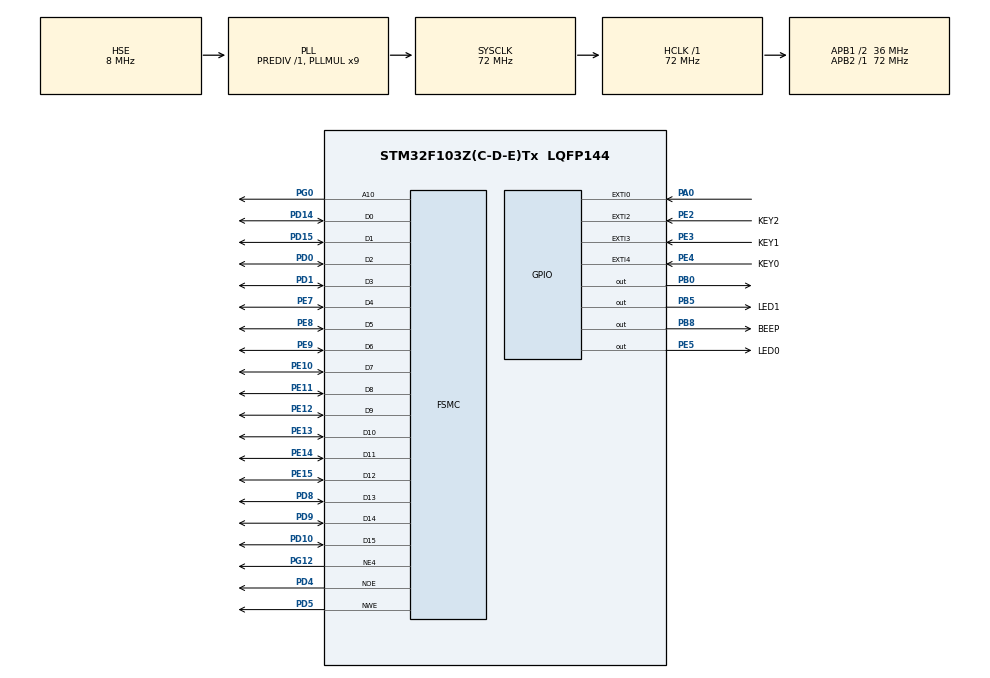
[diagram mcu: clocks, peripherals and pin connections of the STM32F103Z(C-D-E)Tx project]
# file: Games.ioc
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Mcu.Family=STM32F1
FSMC.AddressSetupTime1=0
SH.FSMC_D1_DA1.0=FSMC_D1,16b-d1
SH.FSMC_NWE.0=FSMC_NWE,Lcd1
PG0.Signal=FSMC_A10
SH.FSMC_D0_DA0.0=FSMC_D0,16b-d1
NVIC.EXTI3_IRQn=true\:0\:0\:false\:false\:true\:true\:true
FSMC.ExtendedBusTurnAroundDuration1=0
RCC.SYSCLKSource=RCC_SYSCLKSOURCE_PLLCLK
ProjectManager.StackSize=0x1000
PB0.PinState=GPIO_PIN_SET
RCC.HCLKFreq_Value=72000000
PD4.Signal=FSMC_NOE
RCC.APB2TimFreq_Value=72000000
PB5.PinState=GPIO_PIN_RESET
PD0.Signal=FSMC_D2_DA2
PD8.Signal=FSMC_D13_DA13
PE5.Signal=GPIO_Output
OSC_OUT.Mode=HSE-External-Oscillator
SH.FSMC_A10.0=FSMC_A10,A10_1
OSC_OUT.Signal=RCC_OSC_OUT
RCC.AHBFreq_Value=72000000
PB3.Mode=JTAG_5_pins
PA15.Mode=JTAG_5_pins
RCC.PLLMUL=RCC_PLL_MUL9
PB4.Mode=JTAG_5_pins
PE13.Signal=FSMC_D10_DA10
SH.FSMC_D14_DA14.0=FSMC_D14,16b-d1
SH.FSMC_D10_DA10.0=FSMC_D10,16b-d1
PE9.Signal=FSMC_D6_DA6
PA14.Mode=JTAG_5_pins
SH.FSMC_D6_DA6.0=FSMC_D6,16b-d1
PE4.GPIO_Label=KEY0
PE5.PinState=GPIO_PIN_RESET
PE2.Signal=GPXTI2
FSMC.BusTurnAroundDuration1=0
PE10.Signal=FSMC_D7_DA7
PE4.Signal=GPXTI4
SH.FSMC_D5_DA5.0=FSMC_D5,16b-d1
SH.FSMC_D4_DA4.0=FSMC_D4,16b-d1
Mcu.Package=LQFP144
SH.FSMC_D13_DA13.0=FSMC_D13,16b-d1
PA15.Signal=SYS_JTDI
PB5.GPIO_Label=LED1
NVIC.EXTI2_IRQn=true\:0\:0\:false\:false\:true\:true\:true
SH.FSMC_D3_DA3.0=FSMC_D3,16b-d1
RCC.APB1TimFreq_Value=72000000
SH.FSMC_D2_DA2.0=FSMC_D2,16b-d1
PE7.Signal=FSMC_D4_DA4
PE2.GPIO_Label=KEY2
PD15.Signal=FSMC_D1_DA1
PB4.Signal=SYS_NJTRST
PG12.Signal=FSMC_NE4
PE3.GPIO_ModeDefaultEXTI=GPIO_MODE_IT_FALLING
RCC.PLLSourceVirtual=RCC_PLLSOURCE_HSE
PB5.GPIO_ModeDefaultOutputPP=GPIO_MODE_OUTPUT_OD
FSMC.ExtendedAddressSetupTime1=0
NVIC.EXTI4_IRQn=true\:0\:0\:false\:false\:true\:true\:true
SH.FSMC_D12_DA12.0=FSMC_D12,16b-d1
FSMC.ExtendedMode1=FSMC_EXTENDED_MODE_ENABLE
PE4.GPIO_ModeDefaultEXTI=GPIO_MODE_IT_FALLING
PD1.Signal=FSMC_D3_DA3
SH.FSMC_D9_DA9.0=FSMC_D9,16b-d1
PD9.Signal=FSMC_D14_DA14
PD5.Signal=FSMC_NWE
RCC.APB1CLKDivider=RCC_HCLK_DIV2
PA0-WKUP.GPIO_ModeDefaultEXTI=GPIO_MODE_IT_RISING
PA0-WKUP.Signal=GPXTI0
SH.FSMC_D8_DA8.0=FSMC_D8,16b-d1
PD10.Signal=FSMC_D15_DA15
PA13.Signal=SYS_JTMS-SWDIO
PB8.GPIO_Label=BEEP
ProjectManager.TargetToolchain=MDK-ARM V5
FSMC.DataSetupTime1=5
OSC_IN.Signal=RCC_OSC_IN
RCC.USBFreq_Value=72000000
PE11.Signal=FSMC_D8_DA8
PE2.GPIO_PuPd=GPIO_PULLUP
SH.FSMC_D7_DA7.0=FSMC_D7,16b-d1
FSMC.ExtendedDataSetupTime1=3
board=custom
PG12.Mode=NorPsramChipSelect4_1
RCC.APB2Freq_Value=72000000
PE14.Signal=FSMC_D11_DA11
PE15.Signal=FSMC_D12_DA12
PE8.Signal=FSMC_D5_DA5
PE3.GPIO_PuPd=GPIO_PULLUP
PA13.Mode=JTAG_5_pins
Mcu.Name=STM32F103Z(C-D-E)Tx
PE12.Signal=FSMC_D9_DA9
PE4.GPIO_PuPd=GPIO_PULLUP
PD14.Signal=FSMC_D0_DA0
PB3.Signal=SYS_JTDO-TRACESWO
NVIC.EXTI0_IRQn=true\:0\:0\:false\:false\:true\:true\:true
RCC.SYSCLKFreq_VALUE=72000000
PB5.Signal=GPIO_Output
OSC_IN.Mode=HSE-External-Oscillator
PE5.GPIO_Label=LED0
SH.FSMC_D15_DA15.0=FSMC_D15,16b-d1
PA14.Signal=SYS_JTCK-SWCLK
ProjectManager.HeapSize=0x200
PE5.GPIO_ModeDefaultOutputPP=GPIO_MODE_OUTPUT_OD
SH.FSMC_D11_DA11.0=FSMC_D11,16b-d1
SH.FSMC_NOE.0=FSMC_NOE,Lcd1
NVIC.PriorityGroup=NVIC_PRIORITYGROUP_4
PE3.Signal=GPXTI3
PB8.Signal=GPIO_Output
PA0-WKUP.GPIO_PuPd=GPIO_PULLDOWN
PE3.GPIO_Label=KEY1
PE2.GPIO_ModeDefaultEXTI=GPIO_MODE_IT_FALLING
RCC.APB1Freq_Value=36000000
PB0.Signal=GPIO_Output

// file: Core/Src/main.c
/* USER CODE BEGIN Header */
/**
  ******************************************************************************
  * @file           : main.c
  * @brief          : Main program body
  ******************************************************************************
  * @attention
  *
  * <h2><center>&copy; Copyright (c) 2021 STMicroelectronics.
  * All rights reserved.</center></h2>
  *
  * This software component is licensed by ST under BSD 3-Clause license,
  * the "License"; You may not use this file except in compliance with the
  * License. You may obtain a copy of the License at:
  *                        opensource.org/licenses/BSD-3-Clause
  *
  ******************************************************************************
  */
/* USER CODE END Header */
#include "main.h"
#include "gpio.h"
#include "fsmc.h"

/* USER CODE BEGIN Includes */
#include "lcd_header.h"
#include "tetris.h"
/* USER CODE END Includes */

/* USER CODE BEGIN PTD */
#define LED0(x)			HAL_GPIO_WritePin(LED0_GPIO_Port,LED0_Pin,x)
#define LED1(x)			HAL_GPIO_WritePin(LED1_GPIO_Port,LED1_Pin,x)
#define BEEP(x)			HAL_GPIO_WritePin(BEEP_GPIO_Port,BEEP_Pin,x)
#define ON 					GPIO_PIN_SET
#define OFF					GPIO_PIN_RESET
#define Delay(x)		HAL_Delay(x)
/* USER CODE END PTD */

void SystemClock_Config(void);
/* USER CODE BEGIN PFP */
void BEEP_one(){
	BEEP(ON);
	Delay(100);
	BEEP(OFF);
}

int isOver = 0;
/* USER CODE END PFP */

int main(void)
{

  /* MCU Configuration--------------------------------------------------------*/

  /* Reset of all peripherals, Initializes the Flash interface and the Systick. */
  HAL_Init();

  /* Configure the system clock */
  SystemClock_Config();

  /* Initialize all configured peripherals */
  MX_GPIO_Init();
  MX_FSMC_Init();
  /* USER CODE BEGIN 2 */
	LCD_Init(&HAL_Delay);
	initalGameArea(BEEP_one);
  /* USER CODE END 2 */

  /* Infinite loop */
  /* USER CODE BEGIN WHILE */
  while (1)
  {
		if(!isOver){
			gameSelf(&isOver);
			Delay(700);
		}
    /* USER CODE END WHILE */

  }
}

void SystemClock_Config(void)
{
  RCC_OscInitTypeDef RCC_OscInitStruct = {0};
  RCC_ClkInitTypeDef RCC_ClkInitStruct = {0};

  /** Initializes the RCC Oscillators according to the specified parameters
  * in the RCC_OscInitTypeDef structure.
  */
  RCC_OscInitStruct.OscillatorType = RCC_OSCILLATORTYPE_HSE;
  RCC_OscInitStruct.HSEState = RCC_HSE_ON;
  RCC_OscInitStruct.HSEPredivValue = RCC_HSE_PREDIV_DIV1;
  RCC_OscInitStruct.HSIState = RCC_HSI_ON;
  RCC_OscInitStruct.PLL.PLLState = RCC_PLL_ON;
  RCC_OscInitStruct.PLL.PLLSource = RCC_PLLSOURCE_HSE;
  RCC_OscInitStruct.PLL.PLLMUL = RCC_PLL_MUL9;
  if (HAL_RCC_OscConfig(&RCC_OscInitStruct) != HAL_OK)
  {
    Error_Handler();
  }
  /** Initializes the CPU, AHB and APB buses clocks
  */
  RCC_ClkInitStruct.ClockType = RCC_CLOCKTYPE_HCLK|RCC_CLOCKTYPE_SYSCLK
                              |RCC_CLOCKTYPE_PCLK1|RCC_CLOCKTYPE_PCLK2;
  RCC_ClkInitStruct.SYSCLKSource = RCC_SYSCLKSOURCE_PLLCLK;
  RCC_ClkInitStruct.AHBCLKDivider = RCC_SYSCLK_DIV1;
  RCC_ClkInitStruct.APB1CLKDivider = RCC_HCLK_DIV2;
  RCC_ClkInitStruct.APB2CLKDivider = RCC_HCLK_DIV1;

  if (HAL_RCC_ClockConfig(&RCC_ClkInitStruct, FLASH_LATENCY_2) != HAL_OK)
  {
    Error_Handler();
  }
}

/* USER CODE BEGIN 4 */
void HAL_GPIO_EXTI_Callback(uint16_t GPIO_Pin)
{
	if(!isOver){
		Input(GPIO_Pin);
	}
	else{
		isOver = 0;
	}
}
/* USER CODE END 4 */

void Error_Handler(void)
{
}

/************************ (C) COPYRIGHT STMicroelectronics *****END OF FILE****/
